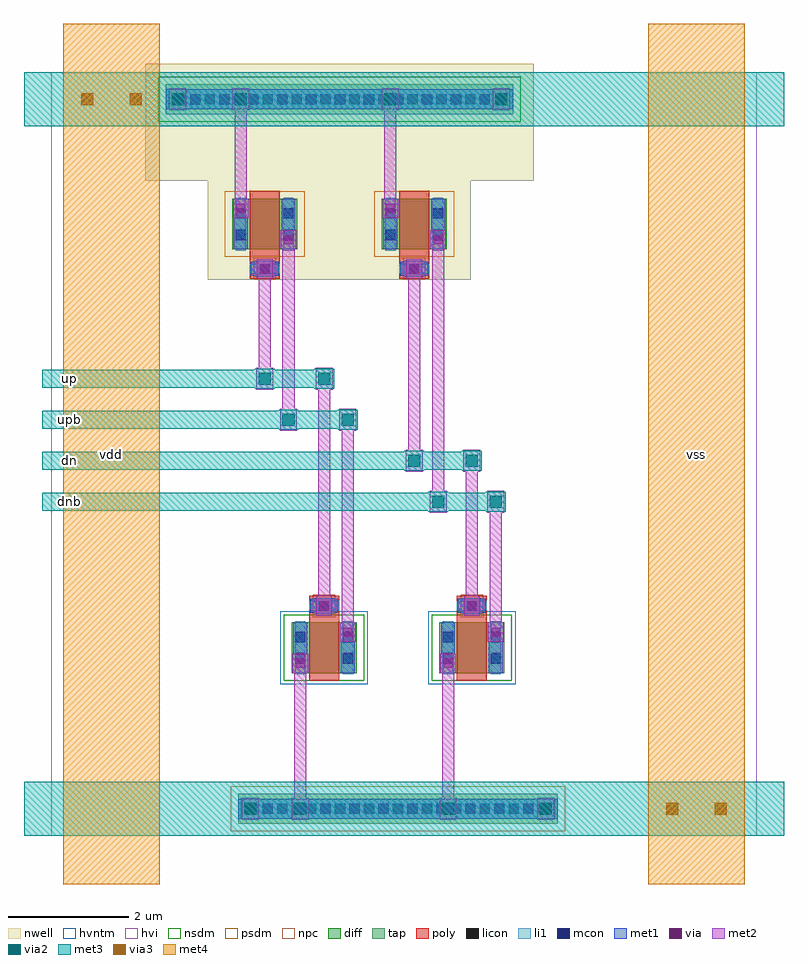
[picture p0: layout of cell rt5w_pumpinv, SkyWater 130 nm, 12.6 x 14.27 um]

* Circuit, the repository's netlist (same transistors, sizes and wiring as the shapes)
** sch_path: /home/claude/rt5w_sky/tt/xschem/rt5w_pumpinv.sch
.subckt rt5w_pumpinv up dn upb dnb vdd vss
*.ipin up
*.ipin dn
*.opin upb
*.opin dnb
XMupp upb up vdd vdd sky130_fd_pr__pfet_g5v0d10v5 L=0.5 W=0.84 nf=1 ad=0.2436 as=0.2436 pd=2.26 ps=2.26 nrd=0.3452 nrs=0.3452 sa=0
+ sb=0 sd=0 mult=1 m=1
XMupn upb up vss vss sky130_fd_pr__nfet_g5v0d10v5 L=0.5 W=0.84 nf=1 ad=0.2436 as=0.2436 pd=2.26 ps=2.26 nrd=0.3452 nrs=0.3452 sa=0
+ sb=0 sd=0 mult=1 m=1
XMdnp dnb dn vdd vdd sky130_fd_pr__pfet_g5v0d10v5 L=0.5 W=0.84 nf=1 ad=0.2436 as=0.2436 pd=2.26 ps=2.26 nrd=0.3452 nrs=0.3452 sa=0
+ sb=0 sd=0 mult=1 m=1
XMdnn dnb dn vss vss sky130_fd_pr__nfet_g5v0d10v5 L=0.5 W=0.84 nf=1 ad=0.2436 as=0.2436 pd=2.26 ps=2.26 nrd=0.3452 nrs=0.3452 sa=0
+ sb=0 sd=0 mult=1 m=1
.ends
.GLOBAL vdd
.GLOBAL vss
.end

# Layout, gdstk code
import gdstk
lib = gdstk.Library(unit=1e-6, precision=1e-09)
def R(c, l, rs):  # rectangles x0, y0, x1, y1
    for r in rs: c.add(gdstk.rectangle(r[:2], r[2:], *l))
def A(c, l, x, y, w, h, nx, ny, dx, dy):  # array of equal rectangles
    R(c, l, [(x+i*dx, y+j*dy, x+i*dx+w, y+j*dy+h) for i in range(nx) for j in range(ny)])
nwell = (64, 20)
diff = (65, 20)
tap = (65, 44)
poly = (66, 20)
licon = (66, 44)
li1 = (67, 20)
mcon = (67, 44)
met1 = (68, 20)
via = (68, 44)
met2 = (69, 20)
via2 = (69, 44)
met3 = (70, 20)
via3 = (70, 44)
met4 = (71, 20)
hvi = (75, 20)
nsdm = (93, 44)
psdm = (94, 20)
npc = (95, 20)
hvntm = (125, 20)

pfet_w0p84_l0p5_nf1_b_ng = lib.new_cell('pfet_W0p84_L0p5_nf1_b_ng')
R(pfet_w0p84_l0p5_nf1_b_ng, nwell, [(-0.94,-0.74,0.94,1), (-0.72,-0.74,0.72,0.91)])
R(pfet_w0p84_l0p5_nf1_b_ng, diff, [(-0.54,-0.24,0.54,0.6)])
R(pfet_w0p84_l0p5_nf1_b_ng, poly, [(-0.25,-0.725,0.25,0.73)])
R(pfet_w0p84_l0p5_nf1_b_ng, licon, [(-0.085,-0.645,0.085,-0.475), (-0.48,-0.075,-0.31,0.095), (0.31,-0.075,0.48,0.095), (-0.48,0.265,-0.31,0.435), (0.31,0.265,0.48,0.435)])
R(pfet_w0p84_l0p5_nf1_b_ng, li1, [(-0.25,-0.645,0.25,-0.475), (-0.48,-0.26,-0.31,0.62), (0.31,-0.26,0.48,0.62)])
R(pfet_w0p84_l0p5_nf1_b_ng, mcon, [(-0.085,-0.645,0.085,-0.475), (-0.48,-0.085,-0.31,0.085), (0.31,-0.085,0.48,0.085), (-0.48,0.275,-0.31,0.445), (0.31,0.275,0.48,0.445)])
R(pfet_w0p84_l0p5_nf1_b_ng, met1, [(-0.23,-0.675,0.23,-0.445), (-0.51,-0.24,-0.28,0.6), (0.28,-0.24,0.51,0.6)])
R(pfet_w0p84_l0p5_nf1_b_ng, hvi, [(-0.72,-0.74,0.72,-0.425), (-0.725,-0.425,0.725,0.785), (-0.72,0.785,0.72,0.91)])
R(pfet_w0p84_l0p5_nf1_b_ng, psdm, [(-0.665,-0.365,0.665,0.725)])
R(pfet_w0p84_l0p5_nf1_b_ng, npc, [(-0.185,-0.745,0.185,-0.375)])

nfet_w0p84_l0p5_nf1_t_ng = lib.new_cell('nfet_W0p84_L0p5_nf1_t_ng')
R(nfet_w0p84_l0p5_nf1_t_ng, diff, [(-0.54,-0.575,0.54,0.265)])
R(nfet_w0p84_l0p5_nf1_t_ng, poly, [(-0.25,-0.705,0.25,0.705)])
R(nfet_w0p84_l0p5_nf1_t_ng, licon, [(-0.48,-0.41,-0.31,-0.24), (0.31,-0.41,0.48,-0.24), (-0.48,-0.07,-0.31,0.1), (0.31,-0.07,0.48,0.1), (-0.085,0.455,0.085,0.625)])
R(nfet_w0p84_l0p5_nf1_t_ng, li1, [(-0.48,-0.595,-0.31,0.285), (0.31,-0.595,0.48,0.285), (-0.25,0.455,0.25,0.625)])
R(nfet_w0p84_l0p5_nf1_t_ng, mcon, [(-0.48,-0.42,-0.31,-0.25), (0.31,-0.42,0.48,-0.25), (-0.48,-0.06,-0.31,0.11), (0.31,-0.06,0.48,0.11), (-0.085,0.455,0.085,0.625)])
R(nfet_w0p84_l0p5_nf1_t_ng, met1, [(-0.51,-0.575,-0.28,0.265), (0.28,-0.575,0.51,0.265), (-0.23,0.425,0.23,0.655)])
R(nfet_w0p84_l0p5_nf1_t_ng, hvi, [(-0.725,-0.76,0.725,0.45)])
R(nfet_w0p84_l0p5_nf1_t_ng, nsdm, [(-0.665,-0.7,0.665,0.39)])
R(nfet_w0p84_l0p5_nf1_t_ng, npc, [(-0.185,0.355,0.185,0.725)])
R(nfet_w0p84_l0p5_nf1_t_ng, hvntm, [(-0.725,-0.76,0.725,0.45)])

rt5w_pumpinv = lib.new_cell('rt5w_pumpinv')
R(rt5w_pumpinv, nwell, [(0,-3.44,4.36,-1.7), (-1.04,-1.8,5.4,-0.45), (-1.04,-1.04,5.4,0.14)])
R(rt5w_pumpinv, tap, [(0.5,-12.465,5.8,-11.965), (-0.7,-0.7,5.06,-0.2)])
A(rt5w_pumpinv, licon, 0.665, -12.3, 0.17, 0.17, 11, 1, 0.48, 0)
A(rt5w_pumpinv, licon, -0.535, -0.535, 0.17, 0.17, 11, 1, 0.48, 0)
R(rt5w_pumpinv, li1, [(0.545,-12.38,5.755,-12.05), (-0.655,-0.615,5.015,-0.285)])
A(rt5w_pumpinv, mcon, 0.905, -12.3, 0.17, 0.17, 10, 1, 0.48, 0)
A(rt5w_pumpinv, mcon, -0.295, -0.535, 0.17, 0.17, 11, 1, 0.48, 0)
R(rt5w_pumpinv, met1, [(0.5,-12.38,5.8,-12.05), (0.54,-12.345,0.86,-12.085), (5.44,-12.345,5.76,-12.085), (1.4,-9.965,1.66,-9.645), (3.85,-9.965,4.11,-9.645), (2.19,-9.445,2.45,-9.125), (4.64,-9.445,4.9,-9.125), (1.765,-8.98,2.085,-8.72), (4.215,-8.98,4.535,-8.72), (0.78,-3.39,1.1,-3.13), (3.26,-3.39,3.58,-3.13), (1.205,-2.94,1.465,-2.62), (3.685,-2.94,3.945,-2.62), (0.415,-2.42,0.675,-2.1), (2.895,-2.42,3.155,-2.1), (-0.7,-0.615,5.06,-0.285), (-0.66,-0.58,-0.34,-0.32), (4.7,-0.58,5.02,-0.32)])
R(rt5w_pumpinv, via, [(0.625,-12.29,0.775,-12.14), (5.525,-12.29,5.675,-12.14), (1.455,-9.88,1.605,-9.73), (3.905,-9.88,4.055,-9.73), (2.245,-9.36,2.395,-9.21), (4.695,-9.36,4.845,-9.21), (1.85,-8.925,2,-8.775), (4.3,-8.925,4.45,-8.775), (0.865,-3.335,1.015,-3.185), (3.345,-3.335,3.495,-3.185), (1.26,-2.855,1.41,-2.705), (3.74,-2.855,3.89,-2.705), (0.47,-2.335,0.62,-2.185), (2.95,-2.335,3.1,-2.185), (-0.575,-0.525,-0.425,-0.375), (4.785,-0.525,4.935,-0.375)])
R(rt5w_pumpinv, met2, [(0.56,-12.4,0.84,-12.03), (1.39,-12.4,1.67,-12.03), (3.84,-12.4,4.12,-12.03), (5.46,-12.4,5.74,-12.03), (0.57,-12.375,0.83,-12.055), (5.47,-12.375,5.73,-12.055), (1.43,-12.315,1.63,-9.705), (3.88,-12.315,4.08,-9.705), (1.4,-9.965,1.66,-9.645), (3.85,-9.965,4.11,-9.645), (2.19,-9.445,2.45,-9.125), (4.64,-9.445,4.9,-9.125), (2.22,-9.385,2.42,-5.665), (4.67,-9.385,4.87,-7.025), (1.795,-9.01,2.055,-8.69), (4.245,-9.01,4.505,-8.69), (1.825,-8.95,2.025,-4.985), (4.275,-8.95,4.475,-6.345), (3.675,-7.31,3.955,-6.94), (4.63,-7.31,4.91,-6.94), (3.715,-7.225,3.915,-2.68), (3.28,-6.63,3.56,-6.26), (4.235,-6.63,4.515,-6.26), (3.32,-6.545,3.52,-3.16), (1.195,-5.95,1.475,-5.58), (2.18,-5.95,2.46,-5.58), (1.235,-5.865,1.435,-2.68), (0.8,-5.27,1.08,-4.9), (1.785,-5.27,2.065,-4.9), (0.84,-5.185,1.04,-3.16), (0.81,-3.42,1.07,-3.1), (3.29,-3.42,3.55,-3.1), (1.205,-2.94,1.465,-2.62), (3.685,-2.94,3.945,-2.62), (0.415,-2.42,0.675,-2.1), (2.895,-2.42,3.155,-2.1), (0.445,-2.36,0.645,-0.35), (2.925,-2.36,3.125,-0.35), (-0.64,-0.635,-0.36,-0.265), (0.405,-0.635,0.685,-0.265), (2.885,-0.635,3.165,-0.265), (4.72,-0.635,5,-0.265), (-0.63,-0.61,-0.37,-0.29), (4.73,-0.61,4.99,-0.29)])
R(rt5w_pumpinv, via2, [(0.6,-12.315,0.8,-12.115), (1.43,-12.315,1.63,-12.115), (3.88,-12.315,4.08,-12.115), (5.5,-12.315,5.7,-12.115), (3.715,-7.225,3.915,-7.025), (4.67,-7.225,4.87,-7.025), (3.32,-6.545,3.52,-6.345), (4.275,-6.545,4.475,-6.345), (1.235,-5.865,1.435,-5.665), (2.22,-5.865,2.42,-5.665), (0.84,-5.185,1.04,-4.985), (1.825,-5.185,2.025,-4.985), (-0.6,-0.55,-0.4,-0.35), (0.445,-0.55,0.645,-0.35), (2.925,-0.55,3.125,-0.35), (4.76,-0.55,4.96,-0.35)])
R(rt5w_pumpinv, met3, [(-3.05,-12.665,9.55,-11.765), (0.535,-12.38,0.865,-12.05), (1.365,-12.38,1.695,-12.05), (3.815,-12.38,4.145,-12.05), (5.435,-12.38,5.765,-12.05), (7.505,-12.38,7.895,-12.05), (8.305,-12.38,8.695,-12.05), (3.65,-7.29,3.98,-6.96), (4.605,-7.29,4.935,-6.96), (-2.75,-7.275,4.92,-6.975), (3.255,-6.61,3.585,-6.28), (4.21,-6.61,4.54,-6.28), (-2.75,-6.595,4.525,-6.295), (1.17,-5.93,1.5,-5.6), (2.155,-5.93,2.485,-5.6), (-2.75,-5.915,2.47,-5.615), (0.775,-5.25,1.105,-4.92), (1.76,-5.25,2.09,-4.92), (-2.75,-5.235,2.075,-4.935), (-3.05,-0.9,9.55,0), (-2.195,-0.615,-1.805,-0.285), (-1.395,-0.615,-1.005,-0.285), (-0.665,-0.615,-0.335,-0.285), (0.38,-0.615,0.71,-0.285), (2.86,-0.615,3.19,-0.285), (4.695,-0.615,5.025,-0.285)])
R(rt5w_pumpinv, via3, [(7.6,-12.315,7.8,-12.115), (8.4,-12.315,8.6,-12.115), (-2.1,-0.55,-1.9,-0.35), (-1.3,-0.55,-1.1,-0.35)])
R(rt5w_pumpinv, met4, [(-2.4,-13.465,-0.8,0.8), (7.3,-13.465,8.9,0.8), (7.45,-12.465,7.95,-11.965), (8.25,-12.465,8.75,-11.965), (-2.25,-0.7,-1.75,-0.2), (-1.45,-0.7,-0.95,-0.2)])
R(rt5w_pumpinv, hvi, [(-2.6,-12.665,9.1,0)])
R(rt5w_pumpinv, nsdm, [(-0.825,-0.825,5.185,-0.075)])
R(rt5w_pumpinv, psdm, [(0.375,-12.59,5.925,-11.84)])
rt5w_pumpinv.add(gdstk.Reference(pfet_w0p84_l0p5_nf1_b_ng, (0.94,-2.7)))
rt5w_pumpinv.add(gdstk.Reference(pfet_w0p84_l0p5_nf1_b_ng, (3.42,-2.7)))
rt5w_pumpinv.add(gdstk.Reference(nfet_w0p84_l0p5_nf1_t_ng, (1.925,-9.39)))
rt5w_pumpinv.add(gdstk.Reference(nfet_w0p84_l0p5_nf1_t_ng, (4.375,-9.39)))
rt5w_pumpinv.add(gdstk.Label('upb', (-2.3,-5.765), layer=70, texttype=5))
rt5w_pumpinv.add(gdstk.Label('up', (-2.3,-5.085), layer=70, texttype=5))
rt5w_pumpinv.add(gdstk.Label('dnb', (-2.3,-7.125), layer=70, texttype=5))
rt5w_pumpinv.add(gdstk.Label('dn', (-2.3,-6.445), layer=70, texttype=5))
rt5w_pumpinv.add(gdstk.Label('vdd', (-1.6,-6.333), layer=71, texttype=5))
rt5w_pumpinv.add(gdstk.Label('vss', (8.1,-6.333), layer=71, texttype=5))

lib.write_gds('rt5w_pumpinv.gds')
